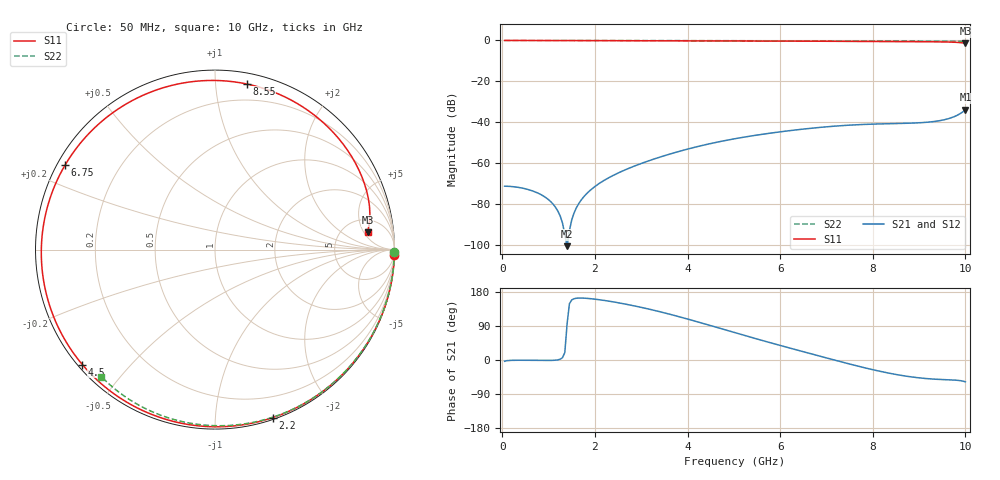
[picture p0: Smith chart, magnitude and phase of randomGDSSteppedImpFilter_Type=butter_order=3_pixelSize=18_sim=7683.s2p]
! freq	dB(S11)	phase(S11)	dB(S12)	phase(S12)
!  dB(S21)	phase(S21)	dB(S22)	phase(S22)
!S-par simulation data
#  GHz  S  DB  R 50
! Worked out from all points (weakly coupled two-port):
!   200 points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, 50 MHz to 10 GHz, reference 50 ohm
!   highest |S21| = -33.81 dB at 10 GHz (marker M1); lowest = -100.4 dB at 1.4 GHz (marker M2)
!   lowest |S11| = -1.4 dB at 10 GHz (marker M3), VSWR 12.80, Z = 423 + j302 ohm
!   |S11| at or under -10 dB: nowhere
!   |S22| runs from -0.5 to 0.0 dB; largest |S21 - S12| = 0
!   S11 on the Smith chart (normalised r, x): 50 MHz: 0, -69; 2.2 GHz: 0.02, -1.40; 4.5 GHz: 0.01, -0.37; 6.75 GHz: 0.02, +0.26; 8.55 GHz: 0.08, +1.21; 10 GHz: 8, +6
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0.05  -0.00 -1.7  -71.13 -3.4  -71.13 -3.4  -0.00 -0.8
0.7  -0.02 -23.2  -73.83 -0.8  -73.83 -0.8  -0.01 -10.6
0.95  -0.03 -31.4  -76.87 -1.2  -76.87 -1.2  -0.02 -14.4
1.1  -0.04 -36.3  -79.98 -0.9  -79.98 -0.9  -0.02 -16.6
1.4  -0.06 -46.0  -100.41 96.3  -100.41 96.3  -0.03 -21.1
1.65  -0.07 -53.9  -79.66 163.5  -79.66 163.5  -0.03 -24.8
1.75  -0.07 -57.0  -76.55 163.3  -76.55 163.3  -0.03 -26.3
2.2  -0.09 -71.0  -68.28 157.2  -68.28 157.2  -0.04 -32.9
2.8  -0.11 -89.2  -61.78 144.1  -61.78 144.1  -0.05 -41.6
3.4  -0.14 -107.0  -56.96 127.5  -56.96 127.5  -0.07 -50.0
4.5  -0.19 -139.0  -50.31 90.7  -50.31 90.7  -0.09 -65.1
5.05  -0.23 -155.2  -47.85 71.2  -47.85 71.2  -0.11 -72.4
5.9  -0.29 178.8  -44.90 41.8  -44.90 41.8  -0.14 -83.4
6.7  -0.36 152.4  -42.78 15.3  -42.78 15.3  -0.18 -93.3
6.75  -0.36 150.7  -42.67 13.6  -42.67 13.6  -0.18 -94.0
7.65  -0.45 117.2  -41.15 -15.3  -41.15 -15.3  -0.24 -104.8
8.35  -0.52 88.0  -40.63 -34.7  -40.63 -34.7  -0.29 -113.0
8.55  -0.54 79.1  -40.53 -39.3  -40.53 -39.3  -0.30 -115.3
8.9  -0.58 63.2  -40.29 -45.7  -40.29 -45.7  -0.33 -119.3
9.3  -0.66 44.1  -39.63 -50.3  -39.63 -50.3  -0.37 -123.9
9.7  -0.82 23.9  -37.70 -52.6  -37.70 -52.6  -0.42 -128.5
10  -1.36 6.4  -33.81 -57.6  -33.81 -57.6  -0.45 -131.8
